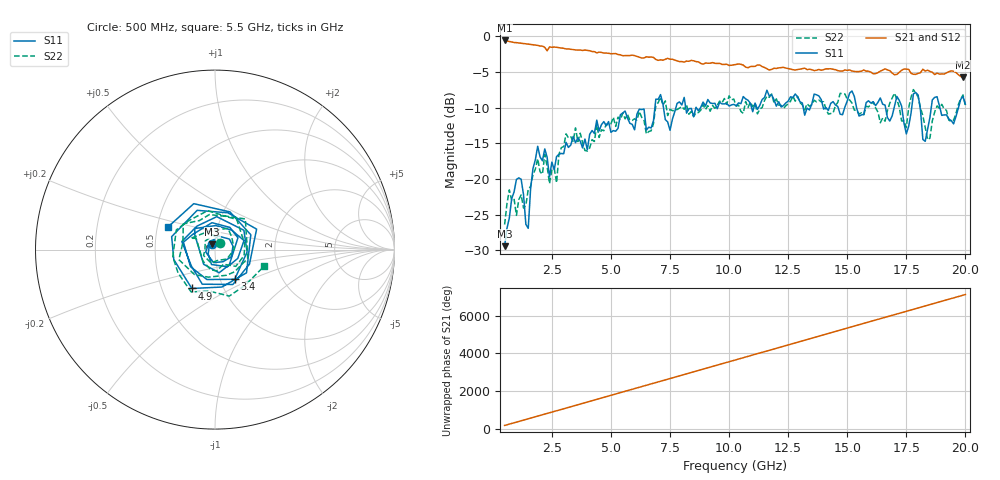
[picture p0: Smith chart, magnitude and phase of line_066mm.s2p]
!Created with skrf (http://scikit-rf.org).
# GHz S RI R 50.0
!freq ReS11 ImS11 ReS21 ImS21 ReS12 ImS12 ReS22 ImS22
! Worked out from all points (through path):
!   196 points, 500 MHz to 20 GHz, reference 50 ohm
!   highest |S21| = -0.61 dB at 500 MHz (marker M1); lowest = -5.7 dB at 19.9 GHz (marker M2)
!   lowest |S11| = -29.4 dB at 500 MHz (marker M3), VSWR 1.07, Z = 48.4 + j2.93 ohm
!   |S11| at or under -10 dB: start of sweep to 6.861 GHz; 7.222 GHz to 7.75 GHz (528.4 MHz wide, 7.06 % of centre); 18.92 GHz to 19.71 GHz (789.6 MHz wide, 4.09 % of centre)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
!   |S22| runs from -26.4 to -7.5 dB; largest |S21 - S12| = 0.44
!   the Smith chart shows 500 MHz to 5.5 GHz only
!   S11 on the Smith chart (normalised r, x): 500 MHz: 0.97, +0.06; 3.4 GHz: 1.17, -0.40; 4.9 GHz: 0.71, -0.33; 5.5 GHz: 0.57, +0.16
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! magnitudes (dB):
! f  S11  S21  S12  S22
! 500 MHz  -29.4  -0.6  -0.6  -26.4
! 700 MHz  -25.4  -0.8  -0.8  -21.5
! 1 GHz  -20.1  -0.9  -1.0  -25.1
! 1.5 GHz  -26.9  -1.1  -1.2  -21.5
! 1.9 GHz  -15.4  -1.3  -1.3  -17.2
! 2.4 GHz  -19.7  -1.5  -1.6  -20.6
! 3.4 GHz  -14.1  -1.9  -1.9  -14.7
! 3.8 GHz  -15.6  -2.0  -2.1  -14.9
! 4.9 GHz  -12.0  -2.4  -2.4  -12.4
! 5.5 GHz  -10.8  -2.7  -2.8  -10.8
! 6.5 GHz  -13.2  -2.9  -2.9  -13.7
! 7 GHz  -8.8  -3.4  -3.4  -9.3
! 7.5 GHz  -13.2  -3.2  -3.3  -10.2
! 10.3 GHz  -9.8  -4.0  -4.0  -9.8
! 13.5 GHz  -9.5  -4.7  -4.7  -9.6
! 16.8 GHz  -11.9  -4.8  -4.9  -9.4
! 17.1 GHz  -8.4  -5.4  -5.4  -8.9
! 17.5 GHz  -13.7  -4.6  -4.6  -12.8
! 17.8 GHz  -8.1  -5.3  -5.4  -7.5
! 18.4 GHz  -13.1  -4.8  -4.9  -14.5
! 19.9 GHz  -8.4  -5.7  -5.7  -8.2
! 20 GHz  -9.6  -5.6  -5.6  -9.8
